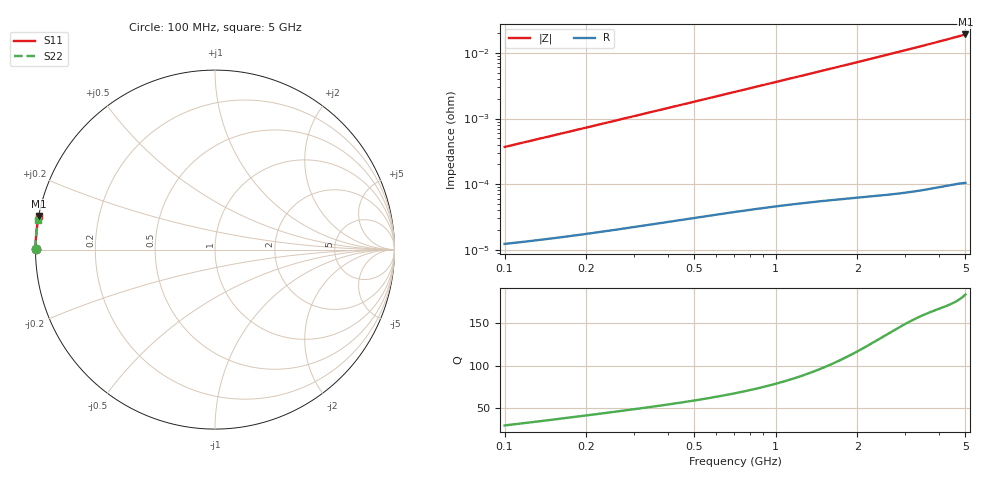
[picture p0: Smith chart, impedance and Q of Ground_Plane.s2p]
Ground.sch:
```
<Qucs Schematic 24.2.1>
<Properties>
  <View=272,19,743,279,3.31064,0,0>
  <Grid=10,10,1>
  <DataSet=Ground.dat>
  <DataDisplay=Ground.dpl>
  <OpenDisplay=0>
  <Script=L1.m>
  <RunScript=0>
  <showFrame=0>
  <FrameText0=Title>
  <FrameText1=Drawn By:>
  <FrameText2=Date:>
  <FrameText3=Revision:>
</Properties>
<Symbol>
  <.ID 0 4 GND>
  <Rectangle -10 -110 350 110 #000000 1 1 #ffaa00 1 1>
  <Line 60 -130 0 -20 #000000 1 1>
  <Rectangle 40 -130 40 20 #000000 1 1 #ffaa00 1 1>
  <.PortSym 60 -150 1 0>
  <Ellipse 30 -90 20 20 #000000 1 1 #c0c0c0 1 1>
  <Ellipse 60 -90 20 20 #000000 1 1 #c0c0c0 1 1>
  <Line 260 -130 0 -20 #000000 1 1>
  <Rectangle 240 -130 40 20 #000000 1 1 #ffaa00 1 1>
  <.PortSym 260 -150 2 180>
  <Ellipse 230 -90 20 20 #000000 1 1 #c0c0c0 1 1>
  <Ellipse 270 -90 20 20 #000000 1 1 #c0c0c0 1 1>
</Symbol>
<Components>
  <Port P1 1 340 150 -23 12 0 0 "1" 1 "analog" 0 "v" 0 "" 0>
  <Port P2 1 540 150 4 -48 0 2 "2" 1 "analog" 0 "v" 0 "" 0>
  <SPfile X1 1 430 150 -26 -56 0 0 "./EM/Refinement/Ground_Plane.s2p" 1 "rectangular" 0 "linear" 0 "open" 0 "2" 0>
  <GND * 1 430 180 0 0 0 0>
</Components>
<Wires>
  <340 150 400 150 "" 0 0 0 "">
  <460 150 540 150 "" 0 0 0 "">
</Wires>
<Diagrams>
</Diagrams>
<Paintings>
</Paintings>
```
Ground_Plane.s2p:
! Sonnet Data File
! From: sonnet Version : 18.53-Lite
! From Emgraph Data:
! Data File Written: 04/08/2024 17:53:51
!< HDATE 04/08/2024 17:52:59
!< MDATE 04/08/2024 17:52:59
# GHZ S MA R 50.00000
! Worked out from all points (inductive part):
!   246 points, 100 MHz to 5 GHz, reference 50 ohm
!   read as one part in shunt: L = 580 fH near 120 MHz
!   highest Q = 183 at 5 GHz (marker M1), where L = 608 fH
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0.1  0.9999 179.8  1.473e-05 87.9  1.473e-05 87.9  0.9999 179.8
0.7  0.9998 178.5  0.0001008 87.7  0.0001008 87.7  0.9998 178.7
0.86  0.9998 178.1  0.0001238 87.5  0.0001238 87.5  0.9998 178.4
1.02  0.9997 177.8  0.0001468 87.2  0.0001468 87.2  0.9998 178.1
1.22  0.9997 177.4  0.0001756 86.9  0.0001756 86.9  0.9997 177.7
1.44  0.9997 176.9  0.0002074 86.5  0.0002074 86.5  0.9997 177.3
1.94  0.9996 175.8  0.0002802 85.6  0.0002802 85.6  0.9997 176.3
2.56  0.9995 174.5  0.0003716 84.4  0.0003716 84.4  0.9996 175.2
3.06  0.9995 173.4  0.0004469 83.4  0.0004469 83.4  0.9996 174.2
3.64  0.9994 172.1  0.0005362 82.3  0.0005362 82.3  0.9995 173.1
5  0.9993 169.2  0.0007579 79.6  0.0007579 79.6  0.9994 170.6
